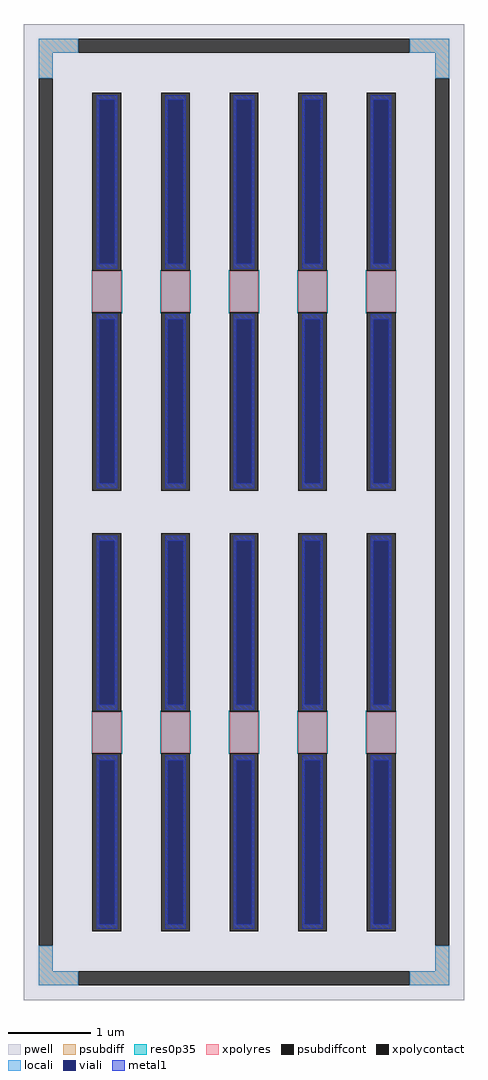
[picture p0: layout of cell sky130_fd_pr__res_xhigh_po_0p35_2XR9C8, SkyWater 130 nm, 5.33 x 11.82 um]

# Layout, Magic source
magic
tech sky130A
magscale 1 2
<< pwell >>
rect -533 -1182 533 1182
<< psubdiff >>
rect -497 1112 -401 1146
rect 401 1112 497 1146
rect -497 1050 -463 1112
rect 463 1050 497 1112
rect -497 -1112 -463 -1050
rect 463 -1112 497 -1050
rect -497 -1146 -401 -1112
rect 401 -1146 497 -1112
<< psubdiffcont >>
rect -401 1112 401 1146
rect -497 -1050 -463 1050
rect 463 -1050 497 1050
rect -401 -1146 401 -1112
<< xpolycontact >>
rect -367 584 -297 1016
rect -367 52 -297 484
rect -201 584 -131 1016
rect -201 52 -131 484
rect -35 584 35 1016
rect -35 52 35 484
rect 131 584 201 1016
rect 131 52 201 484
rect 297 584 367 1016
rect 297 52 367 484
rect -367 -484 -297 -52
rect -367 -1016 -297 -584
rect -201 -484 -131 -52
rect -201 -1016 -131 -584
rect -35 -484 35 -52
rect -35 -1016 35 -584
rect 131 -484 201 -52
rect 131 -1016 201 -584
rect 297 -484 367 -52
rect 297 -1016 367 -584
<< xpolyres >>
rect -367 484 -297 584
rect -201 484 -131 584
rect -35 484 35 584
rect 131 484 201 584
rect 297 484 367 584
rect -367 -584 -297 -484
rect -201 -584 -131 -484
rect -35 -584 35 -484
rect 131 -584 201 -484
rect 297 -584 367 -484
<< locali >>
rect -497 1112 -401 1146
rect 401 1112 497 1146
rect -497 1050 -463 1112
rect 463 1050 497 1112
rect -497 -1112 -463 -1050
rect 463 -1112 497 -1050
rect -497 -1146 -401 -1112
rect 401 -1146 497 -1112
<< viali >>
rect -351 601 -313 998
rect -185 601 -147 998
rect -19 601 19 998
rect 147 601 185 998
rect 313 601 351 998
rect -351 70 -313 467
rect -185 70 -147 467
rect -19 70 19 467
rect 147 70 185 467
rect 313 70 351 467
rect -351 -467 -313 -70
rect -185 -467 -147 -70
rect -19 -467 19 -70
rect 147 -467 185 -70
rect 313 -467 351 -70
rect -351 -998 -313 -601
rect -185 -998 -147 -601
rect -19 -998 19 -601
rect 147 -998 185 -601
rect 313 -998 351 -601
<< metal1 >>
rect -357 998 -307 1010
rect -357 601 -351 998
rect -313 601 -307 998
rect -357 589 -307 601
rect -191 998 -141 1010
rect -191 601 -185 998
rect -147 601 -141 998
rect -191 589 -141 601
rect -25 998 25 1010
rect -25 601 -19 998
rect 19 601 25 998
rect -25 589 25 601
rect 141 998 191 1010
rect 141 601 147 998
rect 185 601 191 998
rect 141 589 191 601
rect 307 998 357 1010
rect 307 601 313 998
rect 351 601 357 998
rect 307 589 357 601
rect -357 467 -307 479
rect -357 70 -351 467
rect -313 70 -307 467
rect -357 58 -307 70
rect -191 467 -141 479
rect -191 70 -185 467
rect -147 70 -141 467
rect -191 58 -141 70
rect -25 467 25 479
rect -25 70 -19 467
rect 19 70 25 467
rect -25 58 25 70
rect 141 467 191 479
rect 141 70 147 467
rect 185 70 191 467
rect 141 58 191 70
rect 307 467 357 479
rect 307 70 313 467
rect 351 70 357 467
rect 307 58 357 70
rect -357 -70 -307 -58
rect -357 -467 -351 -70
rect -313 -467 -307 -70
rect -357 -479 -307 -467
rect -191 -70 -141 -58
rect -191 -467 -185 -70
rect -147 -467 -141 -70
rect -191 -479 -141 -467
rect -25 -70 25 -58
rect -25 -467 -19 -70
rect 19 -467 25 -70
rect -25 -479 25 -467
rect 141 -70 191 -58
rect 141 -467 147 -70
rect 185 -467 191 -70
rect 141 -479 191 -467
rect 307 -70 357 -58
rect 307 -467 313 -70
rect 351 -467 357 -70
rect 307 -479 357 -467
rect -357 -601 -307 -589
rect -357 -998 -351 -601
rect -313 -998 -307 -601
rect -357 -1010 -307 -998
rect -191 -601 -141 -589
rect -191 -998 -185 -601
rect -147 -998 -141 -601
rect -191 -1010 -141 -998
rect -25 -601 25 -589
rect -25 -998 -19 -601
rect 19 -998 25 -601
rect -25 -1010 25 -998
rect 141 -601 191 -589
rect 141 -998 147 -601
rect 185 -998 191 -601
rect 141 -1010 191 -998
rect 307 -601 357 -589
rect 307 -998 313 -601
rect 351 -998 357 -601
rect 307 -1010 357 -998
<< res0p35 >>
rect -369 482 -295 586
rect -203 482 -129 586
rect -37 482 37 586
rect 129 482 203 586
rect 295 482 369 586
rect -369 -586 -295 -482
rect -203 -586 -129 -482
rect -37 -586 37 -482
rect 129 -586 203 -482
rect 295 -586 369 -482
<< properties >>
string FIXED_BBOX -480 -1129 480 1129
string gencell sky130_fd_pr__res_xhigh_po_0p35
string library sky130
string parameters w 0.350 l 0.50 m 2 nx 5 wmin 0.350 lmin 0.50 rho 2000 val 3.932k dummy 0 dw 0.0 term 188.2 sterm 0.0 caplen 0 wmax 0.350 guard 1 glc 1 grc 1 gtc 1 gbc 1 compatible {sky130_fd_pr__res_xhigh_po_0p35  sky130_fd_pr__res_xhigh_po_0p69 sky130_fd_pr__res_xhigh_po_1p41  sky130_fd_pr__res_xhigh_po_2p85 sky130_fd_pr__res_xhigh_po_5p73} snake 0 full_metal 1 n_guard 0 hv_guard 0 vias 1 viagb 0 viagt 0 viagl 0 viagr 0
<< end >>
